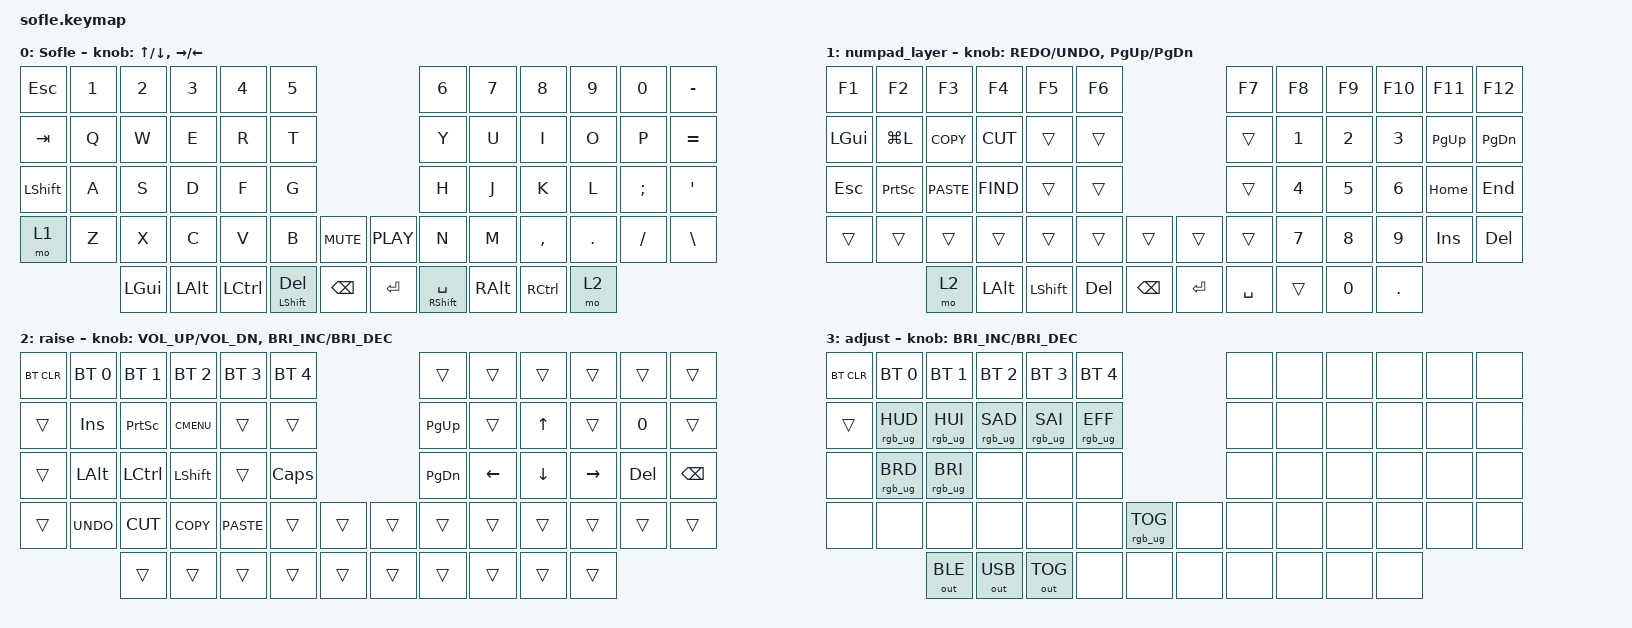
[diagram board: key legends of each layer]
//
// Copyright (c) 2024 The ZMK Contributors
//
// SPDX-License-Identifier: MIT
//
//               @@   @@@@@@@@@@@@  @@@@@@@@@@@@@@@@           @@@@         
//             @@@@@@         @@@@@@ @@@@@      @@@@           @@@@         
//           .@@@@@@@@           @@@@  @@@@     @@@@           @@@@         
//          @@@@   @@@@@         @@@@   @@@@@   @@@@           @@@@         
//        .@@@@      @@@@        @@@@ ,@@@@.    @@@@          @@@@          
//       @@@@         @@@@@   @@@@@@ @@@@@       @@@@@      @@@@@           
//     ,@@@@      @@@@@@@@@@@@@@@@ ,@@@@@@@@@@@@@  @@@@@@@@@@@@  
//
//      Custom keyboards, ergonomic and personalized interfaces 

#include <behaviors.dtsi>
#include <dt-bindings/zmk/bt.h>
#include <dt-bindings/zmk/keys.h>
#include <dt-bindings/zmk/outputs.h>
#include <dt-bindings/zmk/rgb.h>

#define BASE 0
#define LOWER 1
#define RAISE 2
#define ADJUST 3

/ {
    // Activate ADJUST layer by pressing raise and lower

    conditional_layers {
        compatible = "zmk,conditional-layers";

        adjust_layer {
            if-layers = <1 2>;
            then-layer = <3>;
        };
    };

    keymap {
        compatible = "zmk,keymap";

        default_layer {
            display-name = "Sofle";

            // ------------------------------------------------------------------------------------------------------------
            // |  ESC  |  1!  |  2@  |  3#  |  4$  |  5%  |                   |  6^  |  7&   |  8*   |  9(  |   0)  |   -_  |
            // |  TAB  |  Q   |  W   |  E   |  R   |  T   |                   |  Y   |  U    |  I    |  O   |   P   |   =+  |
            // | SHIFT |  A   |  S   |  D   |  F   |  G   |                   |  H   |  J    |  K    |  L   |   ;:  |   '"  |
            // | CTRL  |  Z   |  X   |  C   |  V   |  B   |  MUTE  |  | PLAY  |  N   |  M    |  ,<   |  .>  |   /?  |   \|  |
            //                | GUI  | ALT  | CTRL | LOWER|  SPACE |  | ENTER | RAISE|  ALT  | CTRL  | GUI  |

            bindings = <
&kp ESC    &kp N1  &kp N2    &kp N3    &kp N4     &kp N5                                           &kp N6                 &kp N7    &kp N8     &kp N9   &kp N0     &kp MINUS
&kp TAB    &kp Q   &kp W     &kp E     &kp R      &kp T                                            &kp Y                  &kp U     &kp I      &kp O    &kp P      &kp EQUAL
&kp LSHFT  &kp A   &kp S     &kp D     &kp F      &kp G                                            &kp H                  &kp J     &kp K      &kp L    &kp SEMI   &kp SQT
&mo 1      &kp Z   &kp X     &kp C     &kp V      &kp B               &kp C_MUTE       &kp C_PLAY  &kp N                  &kp M     &kp COMMA  &kp DOT  &kp SLASH  &kp BSLH
                   &kp LGUI  &kp LALT  &kp LCTRL  &mt LEFT_SHIFT DEL  &kp BACKSPACE    &kp ENTER   &mt RIGHT_SHIFT SPACE  &kp RALT  &kp RCTRL  &mo 2
            >;

            sensor-bindings =
                <&inc_dec_kp UP_ARROW DOWN_ARROW>,
                <&inc_dec_kp RIGHT LEFT>;
        };

        lower_layer {
            display-name = "numpad_layer";

            // TODO: Some binds are waiting for shifted keycode support.
            // ------------------------------------------------------------------------------------------------------------
            // |  F1   |  F2 |  F3 |  F4  |  F5  |  F6  |                   |  F7  |  F8   |  F9   |  F10 |  F11  |  F12  |
            // | LGUI  |     | up  |      | RGB  |modRGB|                   |      |  1    |  2    |  3   |  PGUP |  PGDN |
            // | ESC   |  L  | dn  |  R   | hue- | hue+ |                   |      |  4    |  5    |  6   |  HOME |  END  |
            // | PSCRN |     |     |      | Bri- | Bri+ |        |  |       |      |  7    |  8    |  9   |       |       |
            //               | mo2 | alt  | SHF  | DEL  |  BSPC  |  | ENTER | SPACE|       |  0    |      |

            bindings = <
&kp F1    &kp F2           &kp F3       &kp F4      &kp F5     &kp F6                          &kp F7     &kp F8  &kp F9  &kp F10     &kp F11    &kp F12
&kp LGUI  &kp LG(L)        &kp K_COPY   &kp K_CUT   &trans     &trans                          &trans     &kp N1  &kp N2  &kp N3      &kp PG_UP  &kp PG_DN
&kp ESC   &kp PRINTSCREEN  &kp K_PASTE  &kp K_FIND  &trans     &trans                          &trans     &kp N4  &kp N5  &kp N6      &kp HOME   &kp END
&trans    &trans           &trans       &trans      &trans     &trans   &trans      &trans     &trans     &kp N7  &kp N8  &kp N9      &kp INS    &kp DEL
                           &mo 2        &kp LALT    &kp LSHFT  &kp DEL  &kp BSPC    &kp ENTER  &kp SPACE  &trans  &kp N0  &kp PERIOD
            >;

            sensor-bindings =
                <&inc_dec_kp K_REDO K_UNDO>,
                <&inc_dec_kp PG_UP PG_DN>;
        };

        raise_layer {
            display-name = "raise";

            // ------------------------------------------------------------------------------------------------------------
            // | BTCLR | BT1  | BT2  |  BT3  |  BT4  |  BT5 |                |      |      |       |      |       |       |
            // |       | INS  | PSCR | GUI   |       |      |                | PGUP |      |   ^   |      |       |       |
            // |       | ALT  | CTRL | SHIFT |       | CAPS |                | PGDN |   <- |   v   |  ->  |  DEL  | BKSPC |
            // |       | UNDO | CUT  | COPY  | PASTE |      |      |  |      |      |      |       |      |       |       |
            //                |      |       |       |      |      |  |      |      |      |       |      |

            bindings = <
&bt BT_CLR  &bt BT_SEL 0  &bt BT_SEL 1  &bt BT_SEL 2  &bt BT_SEL 3  &bt BT_SEL 4                    &trans     &trans    &trans    &trans     &trans   &trans
&trans      &kp INS       &kp PSCRN     &kp K_CMENU   &trans        &trans                          &kp PG_UP  &trans    &kp UP    &trans     &kp N0   &trans
&trans      &kp LALT      &kp LCTRL     &kp LSHFT     &trans        &kp CLCK                        &kp PG_DN  &kp LEFT  &kp DOWN  &kp RIGHT  &kp DEL  &kp BSPC
&trans      &kp K_UNDO    &kp K_CUT     &kp K_COPY    &kp K_PASTE   &trans        &trans    &trans  &trans     &trans    &trans    &trans     &trans   &trans
                          &trans        &trans        &trans        &trans        &trans    &trans  &trans     &trans    &trans    &trans
            >;

            sensor-bindings =
                <&inc_dec_kp C_VOL_UP C_VOL_DN>,
                <&inc_dec_kp C_BRIGHTNESS_INC C_BRI_DEC>;
        };

        adjust_layer {
            // ----------------------------------------------------------------------------------------------------------------------------
            // | BTCLR  |  BT1    |  BT2    |   BT3   |   BT4   |   BT5   |                  |      |      |       |      |       |       |
            // |        | RGB_HUD | RGB_HUI | RGB_SAD | RGB_SAI | RGB_EFF |                  |      |      |       |      |       |       |
            // |        | RGB_BRD | RGB_BRI |         |         |         |                  |      |      |       |      |       |       |
            // |        |         |         |         |         |         | RGB_TOG | |      |      |      |       |      |       |       |
            //                    |         |         |         |         |         | |      |      |      |       |      |

            display-name = "adjust";
            bindings = <
&bt BT_CLR  &bt BT_SEL 0     &bt BT_SEL 1     &bt BT_SEL 2     &bt BT_SEL 3     &bt BT_SEL 4                               &none  &none  &none  &none  &none  &none
&trans      &rgb_ug RGB_HUD  &rgb_ug RGB_HUI  &rgb_ug RGB_SAD  &rgb_ug RGB_SAI  &rgb_ug RGB_EFF                            &none  &none  &none  &none  &none  &none
&none       &rgb_ug RGB_BRD  &rgb_ug RGB_BRI  &none            &none            &none                                      &none  &none  &none  &none  &none  &none
&none       &none            &none            &none            &none            &none            &rgb_ug RGB_TOG    &none  &none  &none  &none  &none  &none  &none
                             &out OUT_BLE     &out OUT_USB     &out OUT_TOG     &none            &none              &none  &none  &none  &none  &none
            >;

            sensor-bindings = <&inc_dec_kp C_BRIGHTNESS_INC C_BRIGHTNESS_DEC>;
        };
    };
};
